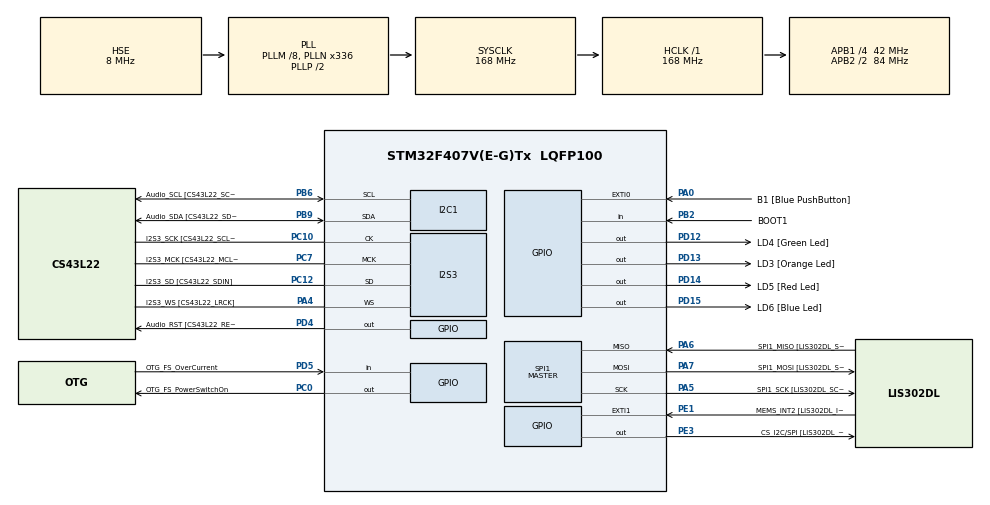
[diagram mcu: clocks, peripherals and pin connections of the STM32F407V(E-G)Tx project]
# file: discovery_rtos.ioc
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FREERTOS.INCLUDE_vTaskDelayUntil=1
FREERTOS.Tasks01=defaultTask,0,128,StartDefaultTask,Default,NULL
I2S3.AudioFreq-Half_Duplex_Master=I2S_AUDIOFREQ_96K
I2S3.ErrorAudioFreq=-2.34 %
I2S3.ErrorAudioFreq-Half_Duplex_Master=0.8 %
I2S3.FullDuplexMode=I2S_FULLDUPLEXMODE_DISABLE
I2S3.Instance=SPI$Index
I2S3.RealAudioFreq=93.75 KHz
I2S3.RealAudioFreq-Half_Duplex_Master=96.774 KHz
I2S3.VirtualMode=I2S_MODE_MASTER
Mcu.Family=STM32F4
Mcu.Name=STM32F407V(E-G)Tx
Mcu.Package=LQFP100
NVIC.PriorityGroup=NVIC_PRIORITYGROUP_4
NVIC.TIM6_DAC_IRQn=true\:0\:0\:false\:false\:true\:false\:false
NVIC.TimeBase=TIM6_DAC_IRQn
NVIC.TimeBaseIP=TIM6
PA0-WKUP.GPIO_Label=B1 [Blue PushButton]
PA0-WKUP.GPIO_ModeDefaultEXTI=GPIO_MODE_EVT_RISING
PA0-WKUP.GPIO_PuPd=GPIO_NOPULL
PA0-WKUP.Signal=GPXTI0
PA10.GPIO_Label=OTG_FS_ID
PA10.GPIO_Mode=GPIO_MODE_AF_PP
PA10.GPIO_PuPd=GPIO_NOPULL
PA10.GPIO_Speed=GPIO_SPEED_FREQ_LOW
PA10.Signal=USB_OTG_FS_ID
PA11.GPIO_Label=OTG_FS_DM
PA11.GPIO_Mode=GPIO_MODE_AF_PP
PA11.GPIO_PuPd=GPIO_NOPULL
PA11.GPIO_Speed=GPIO_SPEED_FREQ_LOW
PA11.Signal=USB_OTG_FS_DM
PA12.GPIO_Label=OTG_FS_DP
PA12.GPIO_Mode=GPIO_MODE_AF_PP
PA12.GPIO_PuPd=GPIO_NOPULL
PA12.GPIO_Speed=GPIO_SPEED_FREQ_LOW
PA12.Signal=USB_OTG_FS_DP
PA13.GPIO_Label=SWDIO
PA13.Mode=Serial_Wire
PA13.Signal=SYS_JTMS-SWDIO
PA14.GPIO_Label=SWCLK
PA14.Mode=Serial_Wire
PA14.Signal=SYS_JTCK-SWCLK
PA4.GPIO_Label=I2S3_WS [CS43L22_LRCK]
PA4.GPIO_Mode=GPIO_MODE_AF_PP
PA4.GPIO_PuPd=GPIO_NOPULL
PA4.GPIO_Speed=GPIO_SPEED_FREQ_LOW
PA4.Mode=Half_Duplex_Master
PA4.Signal=I2S3_WS
PA5.GPIO_Label=SPI1_SCK [LIS302DL_SCL/SPC]
PA5.GPIO_Mode=GPIO_MODE_AF_PP
PA5.GPIO_PuPd=GPIO_NOPULL
PA5.GPIO_Speed=GPIO_SPEED_FREQ_LOW
PA5.Mode=Full_Duplex_Master
PA5.Signal=SPI1_SCK
PA6.GPIO_Label=SPI1_MISO [LIS302DL_SDO]
PA6.GPIO_Mode=GPIO_MODE_AF_PP
PA6.GPIO_PuPd=GPIO_NOPULL
PA6.GPIO_Speed=GPIO_SPEED_FREQ_LOW
PA6.Mode=Full_Duplex_Master
PA6.Signal=SPI1_MISO
PA7.GPIO_Label=SPI1_MOSI [LIS302DL_SDA/SDI/SDO]
PA7.GPIO_Mode=GPIO_MODE_AF_PP
PA7.GPIO_PuPd=GPIO_NOPULL
PA7.GPIO_Speed=GPIO_SPEED_FREQ_LOW
PA7.Mode=Full_Duplex_Master
PA7.Signal=SPI1_MOSI
PA9.GPIO_Label=VBUS_FS
PA9.GPIO_Mode=GPIO_MODE_INPUT
PA9.GPIO_PuPd=GPIO_NOPULL
PA9.Signal=USB_OTG_FS_VBUS
PB10.GPIO_Label=CLK_IN [MP45DT02_CLK]
PB10.GPIO_Mode=GPIO_MODE_AF_PP
PB10.GPIO_PuPd=GPIO_NOPULL
PB10.GPIO_Speed=GPIO_SPEED_FREQ_LOW
PB10.Signal=I2S2_CK
PB2.GPIO_Label=BOOT1
PB2.GPIO_Mode=GPIO_MODE_INPUT
PB2.GPIO_PuPd=GPIO_NOPULL
PB2.Signal=GPIO_Input
PB3.GPIO_Label=SWO
PB3.Signal=SYS_JTDO-SWO
PB6.GPIO_Label=Audio_SCL [CS43L22_SCL]
PB6.GPIO_Mode=GPIO_MODE_AF_OD
PB6.GPIO_PuPd=GPIO_NOPULL
PB6.GPIO_Speed=GPIO_SPEED_FREQ_LOW
PB6.Mode=I2C
PB6.Signal=I2C1_SCL
PB9.GPIO_Label=Audio_SDA [CS43L22_SDA]
PB9.GPIO_Mode=GPIO_MODE_AF_OD
PB9.GPIO_PuPd=GPIO_NOPULL
PB9.GPIO_Speed=GPIO_SPEED_FREQ_LOW
PB9.Mode=I2C
PB9.Signal=I2C1_SDA
PC0.GPIO_Label=OTG_FS_PowerSwitchOn
PC0.GPIO_PuPd=GPIO_NOPULL
PC0.GPIO_Speed=GPIO_SPEED_FREQ_LOW
PC0.PinState=GPIO_PIN_SET
PC0.Signal=GPIO_Output
PC10.GPIO_Label=I2S3_SCK [CS43L22_SCLK]
PC10.GPIO_Mode=GPIO_MODE_AF_PP
PC10.GPIO_PuPd=GPIO_NOPULL
PC10.GPIO_Speed=GPIO_SPEED_FREQ_LOW
PC10.Mode=Half_Duplex_Master
PC10.Signal=I2S3_CK
PC12.GPIO_Label=I2S3_SD [CS43L22_SDIN]
PC12.GPIO_Mode=GPIO_MODE_AF_PP
PC12.GPIO_PuPd=GPIO_NOPULL
PC12.GPIO_Speed=GPIO_SPEED_FREQ_LOW
PC12.Mode=Half_Duplex_Master
PC12.Signal=I2S3_SD
PC14-OSC32_IN.GPIO_Label=PC14-OSC32_IN
PC14-OSC32_IN.Mode=LSE-External-Oscillator
PC14-OSC32_IN.Signal=RCC_OSC32_IN
PC15-OSC32_OUT.GPIO_Label=PC15-OSC32_OUT
PC15-OSC32_OUT.Mode=LSE-External-Oscillator
PC15-OSC32_OUT.Signal=RCC_OSC32_OUT
PC3.GPIO_Label=PDM_OUT [MP45DT02_DOUT]
PC3.GPIO_Mode=GPIO_MODE_AF_PP
PC3.GPIO_PuPd=GPIO_NOPULL
PC3.GPIO_Speed=GPIO_SPEED_FREQ_LOW
PC3.Signal=I2S2_SD
PC7.GPIO_Label=I2S3_MCK [CS43L22_MCLK]
PC7.GPIO_Mode=GPIO_MODE_AF_PP
PC7.GPIO_PuPd=GPIO_NOPULL
PC7.GPIO_Speed=GPIO_SPEED_FREQ_LOW
PC7.Mode=Master_Clock_Activated
PC7.Signal=I2S3_MCK
PD12.GPIO_Label=LD4 [Green Led]
PD12.GPIO_PuPd=GPIO_NOPULL
PD12.GPIO_Speed=GPIO_SPEED_FREQ_LOW
PD12.Signal=GPIO_Output
PD13.GPIO_Label=LD3 [Orange Led]
PD13.GPIO_PuPd=GPIO_NOPULL
PD13.GPIO_Speed=GPIO_SPEED_FREQ_LOW
PD13.Signal=GPIO_Output
PD14.GPIO_Label=LD5 [Red Led]
PD14.GPIO_PuPd=GPIO_NOPULL
PD14.GPIO_Speed=GPIO_SPEED_FREQ_LOW
PD14.Signal=GPIO_Output
PD15.GPIO_Label=LD6 [Blue Led]
PD15.GPIO_PuPd=GPIO_NOPULL
PD15.GPIO_Speed=GPIO_SPEED_FREQ_LOW
PD15.Signal=GPIO_Output
PD4.GPIO_Label=Audio_RST [CS43L22_RESET]
PD4.GPIO_PuPd=GPIO_NOPULL
PD4.GPIO_Speed=GPIO_SPEED_FREQ_LOW
PD4.Signal=GPIO_Output
PD5.GPIO_Label=OTG_FS_OverCurrent
PD5.GPIO_Mode=GPIO_MODE_INPUT
PD5.GPIO_PuPd=GPIO_NOPULL
PD5.Signal=GPIO_Input
PE1.GPIO_Label=MEMS_INT2 [LIS302DL_INT2]
PE1.GPIO_ModeDefaultEXTI=GPIO_MODE_EVT_RISING
PE1.GPIO_PuPd=GPIO_NOPULL
PE1.Signal=GPXTI1
PE3.GPIO_Label=CS_I2C/SPI [LIS302DL_CS_I2C/SPI]
PE3.GPIO_PuPd=GPIO_NOPULL
PE3.GPIO_Speed=GPIO_SPEED_FREQ_LOW
PE3.Signal=GPIO_Output
PH0-OSC_IN.GPIO_Label=PH0-OSC_IN
PH0-OSC_IN.Mode=HSE-External-Oscillator
PH0-OSC_IN.Signal=RCC_OSC_IN
PH1-OSC_OUT.GPIO_Label=PH1-OSC_OUT
PH1-OSC_OUT.Mode=HSE-External-Oscillator
PH1-OSC_OUT.Signal=RCC_OSC_OUT
ProjectManager.HeapSize=0x200
ProjectManager.StackSize=0x400
ProjectManager.TargetToolchain=TrueSTUDIO
RCC.48MHZClocksFreq_Value=48000000
RCC.AHBFreq_Value=168000000
RCC.APB1CLKDivider=RCC_HCLK_DIV4
RCC.APB1Freq_Value=42000000
RCC.APB1TimFreq_Value=84000000
RCC.APB2CLKDivider=RCC_HCLK_DIV2
RCC.APB2Freq_Value=84000000
RCC.APB2TimFreq_Value=168000000
RCC.CortexFreq_Value=168000000
RCC.HCLKFreq_Value=168000000
RCC.HSE_VALUE=8000000
RCC.HSI_VALUE=16000000
RCC.PLLM=8
RCC.PLLN=336
RCC.PLLQ=7
RCC.PLLSourceVirtual=RCC_PLLSOURCE_HSE
RCC.SYSCLKFreq_VALUE=168000000
RCC.SYSCLKSource=RCC_SYSCLKSOURCE_PLLCLK
RCC.VCOOutputFreq_Value=336000000
SPI1.BaudRatePrescaler-Full_Duplex_Master=SPI_BAUDRATEPRESCALER_2
SPI1.CalculateBaudRate-Full_Duplex_Master=42.0 MBits/s
SPI1.Direction=SPI_DIRECTION_2LINES
SPI1.Mode=SPI_MODE_MASTER
SPI1.Mode-Full_Duplex_Master=SPI_MODE_MASTER
SPI1.VirtualType=VM_MASTER
VP_FREERTOS_VS_ENABLE.Mode=Enabled
VP_SYS_VS_tim6.Mode=TIM6
board=STM32F4DISCOVERY

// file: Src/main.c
/**
  ******************************************************************************
  * @file           : main.c
  * @brief          : Main program body
  ******************************************************************************
  * This notice applies to any and all portions of this file
  * that are not between comment pairs USER CODE BEGIN and
  * USER CODE END. Other portions of this file, whether
  * inserted by the user or by software development tools
  * are owned by their respective copyright owners.
  *
  * Copyright (c) 2018 STMicroelectronics International N.V.
  * All rights reserved.
  *
  * Redistribution and use in source and binary forms, with or without
  * modification, are permitted, provided that the following conditions are met:
  *
  * 1. Redistribution of source code must retain the above copyright notice,
  *    this list of conditions and the following disclaimer.
  * 2. Redistributions in binary form must reproduce the above copyright notice,
  *    this list of conditions and the following disclaimer in the documentation
  *    and/or other materials provided with the distribution.
  * 3. Neither the name of STMicroelectronics nor the names of other
  *    contributors to this software may be used to endorse or promote products
  *    derived from this software without specific written permission.
  * 4. This software, including modifications and/or derivative works of this
  *    software, must execute solely and exclusively on microcontroller or
  *    microprocessor devices manufactured by or for STMicroelectronics.
  * 5. Redistribution and use of this software other than as permitted under
  *    this license is void and will automatically terminate your rights under
  *    this license.
  *
  * THIS SOFTWARE IS PROVIDED BY STMICROELECTRONICS AND CONTRIBUTORS "AS IS"
  * AND ANY EXPRESS, IMPLIED OR STATUTORY WARRANTIES, INCLUDING, BUT NOT
  * LIMITED TO, THE IMPLIED WARRANTIES OF MERCHANTABILITY, FITNESS FOR A
  * PARTICULAR PURPOSE AND NON-INFRINGEMENT OF THIRD PARTY INTELLECTUAL PROPERTY
  * RIGHTS ARE DISCLAIMED TO THE FULLEST EXTENT PERMITTED BY LAW. IN NO EVENT
  * SHALL STMICROELECTRONICS OR CONTRIBUTORS BE LIABLE FOR ANY DIRECT, INDIRECT,
  * INCIDENTAL, SPECIAL, EXEMPLARY, OR CONSEQUENTIAL DAMAGES (INCLUDING, BUT NOT
  * LIMITED TO, PROCUREMENT OF SUBSTITUTE GOODS OR SERVICES; LOSS OF USE, DATA,
  * OR PROFITS; OR BUSINESS INTERRUPTION) HOWEVER CAUSED AND ON ANY THEORY OF
  * LIABILITY, WHETHER IN CONTRACT, STRICT LIABILITY, OR TORT (INCLUDING
  * NEGLIGENCE OR OTHERWISE) ARISING IN ANY WAY OUT OF THE USE OF THIS SOFTWARE,
  * EVEN IF ADVISED OF THE POSSIBILITY OF SUCH DAMAGE.
  *
  ******************************************************************************
  */
#include "main.h"
#include "stm32f4xx_hal.h"
#include "cmsis_os.h"

I2C_HandleTypeDef hi2c1;

I2S_HandleTypeDef hi2s3;

SPI_HandleTypeDef hspi1;

osThreadId defaultTaskHandle;

/* USER CODE BEGIN PV */
/* Private variables ---------------------------------------------------------*/
/* USER CODE END PV */

void SystemClock_Config(void);
static void MX_GPIO_Init(void);
static void MX_I2C1_Init(void);
static void MX_I2S3_Init(void);
static void MX_SPI1_Init(void);
void StartDefaultTask(void const * argument);

/* USER CODE BEGIN PFP */
/* Private function prototypes -----------------------------------------------*/

//These two functions will be our two tasks.
void RedLedTask(void const * pvArgument);
void BlueLedTask(void const * pvArgument);
/* USER CODE END PFP */

int main(void)
{

  /* MCU Configuration----------------------------------------------------------*/

  /* Reset of all peripherals, Initializes the Flash interface and the Systick. */
  HAL_Init();

  /* Configure the system clock */
  SystemClock_Config();

  /* Initialize all configured peripherals */
  MX_GPIO_Init();
  MX_I2C1_Init();
  MX_I2S3_Init();
  MX_SPI1_Init();

  /* Create the thread(s) */
  /* definition and creation of defaultTask */
  osThreadDef(defaultTask, StartDefaultTask, osPriorityNormal, 0, 128);
  defaultTaskHandle = osThreadCreate(osThread(defaultTask), NULL);

  /* USER CODE BEGIN RTOS_THREADS */

  /*
    osThreadDef() is a STM CMSIS abstraction function for declaring FreeRTOS tasks.
    We choose not to use it as FreeRTOS ports are already quite universal
  */

  xTaskCreate((TaskFunction_t)RedLedTask,         //Task function pointer
    (const char*) "redLedTask",                   //task name
    configMINIMAL_STACK_SIZE,                     //stack size
    NULL,                                         //parameters to pass to the task
    1,                                            //task priority.  Lower number, lower priority
    NULL);                                        //pass handle to the created task

  /*
    These two tasks are the same priority, so FreeRTOS will try to schedule them at the same time.  This is called Time Slicing
    do be aware that these tasks are low priority on purpose.
    Higher priority tasks will always pre-empt these two during context switches
  */

  xTaskCreate((TaskFunction_t)BlueLedTask,        //Task function pointer
    (const char*) "blueLedTask",                  //task name
    configMINIMAL_STACK_SIZE,                     //stack size
    NULL,                                         //parameters to pass to the task
    1,                                            //task priority
    NULL);                                        //pass handle to the created task

  /*
    One of the things we can do here is create two tasks that use the SAME task function,
    but pass the LED we want to use as the parameter to that task!
  */

  /* USER CODE END RTOS_THREADS */

  /* Start scheduler */
  osKernelStart();

  /* We should never get here as control is now taken by the scheduler */

  /* Infinite loop */
  while (1)
  {

  }

}

void SystemClock_Config(void)
{

  RCC_OscInitTypeDef RCC_OscInitStruct;
  RCC_ClkInitTypeDef RCC_ClkInitStruct;
  RCC_PeriphCLKInitTypeDef PeriphClkInitStruct;

    /**Configure the main internal regulator output voltage
    */
  __HAL_RCC_PWR_CLK_ENABLE();

  __HAL_PWR_VOLTAGESCALING_CONFIG(PWR_REGULATOR_VOLTAGE_SCALE1);

    /**Initializes the CPU, AHB and APB busses clocks
    */
  RCC_OscInitStruct.OscillatorType = RCC_OSCILLATORTYPE_HSE;
  RCC_OscInitStruct.HSEState = RCC_HSE_ON;
  RCC_OscInitStruct.PLL.PLLState = RCC_PLL_ON;
  RCC_OscInitStruct.PLL.PLLSource = RCC_PLLSOURCE_HSE;
  RCC_OscInitStruct.PLL.PLLM = 8;
  RCC_OscInitStruct.PLL.PLLN = 336;
  RCC_OscInitStruct.PLL.PLLP = RCC_PLLP_DIV2;
  RCC_OscInitStruct.PLL.PLLQ = 7;
  if (HAL_RCC_OscConfig(&RCC_OscInitStruct) != HAL_OK)
  {
    _Error_Handler(__FILE__, __LINE__);
  }

    /**Initializes the CPU, AHB and APB busses clocks
    */
  RCC_ClkInitStruct.ClockType = RCC_CLOCKTYPE_HCLK|RCC_CLOCKTYPE_SYSCLK
                              |RCC_CLOCKTYPE_PCLK1|RCC_CLOCKTYPE_PCLK2;
  RCC_ClkInitStruct.SYSCLKSource = RCC_SYSCLKSOURCE_PLLCLK;
  RCC_ClkInitStruct.AHBCLKDivider = RCC_SYSCLK_DIV1;
  RCC_ClkInitStruct.APB1CLKDivider = RCC_HCLK_DIV4;
  RCC_ClkInitStruct.APB2CLKDivider = RCC_HCLK_DIV2;

  if (HAL_RCC_ClockConfig(&RCC_ClkInitStruct, FLASH_LATENCY_5) != HAL_OK)
  {
    _Error_Handler(__FILE__, __LINE__);
  }

  PeriphClkInitStruct.PeriphClockSelection = RCC_PERIPHCLK_I2S;
  PeriphClkInitStruct.PLLI2S.PLLI2SN = 192;
  PeriphClkInitStruct.PLLI2S.PLLI2SR = 2;
  if (HAL_RCCEx_PeriphCLKConfig(&PeriphClkInitStruct) != HAL_OK)
  {
    _Error_Handler(__FILE__, __LINE__);
  }

    /**Configure the Systick interrupt time
    */
  HAL_SYSTICK_Config(HAL_RCC_GetHCLKFreq()/1000);

    /**Configure the Systick
    */
  HAL_SYSTICK_CLKSourceConfig(SYSTICK_CLKSOURCE_HCLK);

  /* SysTick_IRQn interrupt configuration */
  HAL_NVIC_SetPriority(SysTick_IRQn, 15, 0);
}

/* I2C1 init function */
static void MX_I2C1_Init(void)
{

  hi2c1.Instance = I2C1;
  hi2c1.Init.ClockSpeed = 100000;
  hi2c1.Init.DutyCycle = I2C_DUTYCYCLE_2;
  hi2c1.Init.OwnAddress1 = 0;
  hi2c1.Init.AddressingMode = I2C_ADDRESSINGMODE_7BIT;
  hi2c1.Init.DualAddressMode = I2C_DUALADDRESS_DISABLE;
  hi2c1.Init.OwnAddress2 = 0;
  hi2c1.Init.GeneralCallMode = I2C_GENERALCALL_DISABLE;
  hi2c1.Init.NoStretchMode = I2C_NOSTRETCH_DISABLE;
  if (HAL_I2C_Init(&hi2c1) != HAL_OK)
  {
    _Error_Handler(__FILE__, __LINE__);
  }

}

/* I2S3 init function */
static void MX_I2S3_Init(void)
{

  hi2s3.Instance = SPI3;
  hi2s3.Init.Mode = I2S_MODE_MASTER_TX;
  hi2s3.Init.Standard = I2S_STANDARD_PHILIPS;
  hi2s3.Init.DataFormat = I2S_DATAFORMAT_16B;
  hi2s3.Init.MCLKOutput = I2S_MCLKOUTPUT_ENABLE;
  hi2s3.Init.AudioFreq = I2S_AUDIOFREQ_96K;
  hi2s3.Init.CPOL = I2S_CPOL_LOW;
  hi2s3.Init.ClockSource = I2S_CLOCK_PLL;
  hi2s3.Init.FullDuplexMode = I2S_FULLDUPLEXMODE_DISABLE;
  if (HAL_I2S_Init(&hi2s3) != HAL_OK)
  {
    _Error_Handler(__FILE__, __LINE__);
  }

}

/* SPI1 init function */
static void MX_SPI1_Init(void)
{

  /* SPI1 parameter configuration*/
  hspi1.Instance = SPI1;
  hspi1.Init.Mode = SPI_MODE_MASTER;
  hspi1.Init.Direction = SPI_DIRECTION_2LINES;
  hspi1.Init.DataSize = SPI_DATASIZE_8BIT;
  hspi1.Init.CLKPolarity = SPI_POLARITY_LOW;
  hspi1.Init.CLKPhase = SPI_PHASE_1EDGE;
  hspi1.Init.NSS = SPI_NSS_SOFT;
  hspi1.Init.BaudRatePrescaler = SPI_BAUDRATEPRESCALER_2;
  hspi1.Init.FirstBit = SPI_FIRSTBIT_MSB;
  hspi1.Init.TIMode = SPI_TIMODE_DISABLE;
  hspi1.Init.CRCCalculation = SPI_CRCCALCULATION_DISABLE;
  hspi1.Init.CRCPolynomial = 10;
  if (HAL_SPI_Init(&hspi1) != HAL_OK)
  {
    _Error_Handler(__FILE__, __LINE__);
  }

}

/** Configure pins as
        * Analog
        * Input
        * Output
        * EVENT_OUT
        * EXTI
     PC3   ------> I2S2_SD
     PB10   ------> I2S2_CK
     PA9   ------> USB_OTG_FS_VBUS
     PA10   ------> USB_OTG_FS_ID
     PA11   ------> USB_OTG_FS_DM
     PA12   ------> USB_OTG_FS_DP
*/
static void MX_GPIO_Init(void)
{

  GPIO_InitTypeDef GPIO_InitStruct;

  /* GPIO Ports Clock Enable */
  __HAL_RCC_GPIOE_CLK_ENABLE();
  __HAL_RCC_GPIOC_CLK_ENABLE();
  __HAL_RCC_GPIOH_CLK_ENABLE();
  __HAL_RCC_GPIOA_CLK_ENABLE();
  __HAL_RCC_GPIOB_CLK_ENABLE();
  __HAL_RCC_GPIOD_CLK_ENABLE();

  /*Configure GPIO pin Output Level */
  HAL_GPIO_WritePin(CS_I2C_SPI_GPIO_Port, CS_I2C_SPI_Pin, GPIO_PIN_RESET);

  /*Configure GPIO pin Output Level */
  HAL_GPIO_WritePin(OTG_FS_PowerSwitchOn_GPIO_Port, OTG_FS_PowerSwitchOn_Pin, GPIO_PIN_SET);

  /*Configure GPIO pin Output Level */
  HAL_GPIO_WritePin(GPIOD, LD4_Pin|LD3_Pin|LD5_Pin|LD6_Pin
                          |Audio_RST_Pin, GPIO_PIN_RESET);

  /*Configure GPIO pin : CS_I2C_SPI_Pin */
  GPIO_InitStruct.Pin = CS_I2C_SPI_Pin;
  GPIO_InitStruct.Mode = GPIO_MODE_OUTPUT_PP;
  GPIO_InitStruct.Pull = GPIO_NOPULL;
  GPIO_InitStruct.Speed = GPIO_SPEED_FREQ_LOW;
  HAL_GPIO_Init(CS_I2C_SPI_GPIO_Port, &GPIO_InitStruct);

  /*Configure GPIO pin : OTG_FS_PowerSwitchOn_Pin */
  GPIO_InitStruct.Pin = OTG_FS_PowerSwitchOn_Pin;
  GPIO_InitStruct.Mode = GPIO_MODE_OUTPUT_PP;
  GPIO_InitStruct.Pull = GPIO_NOPULL;
  GPIO_InitStruct.Speed = GPIO_SPEED_FREQ_LOW;
  HAL_GPIO_Init(OTG_FS_PowerSwitchOn_GPIO_Port, &GPIO_InitStruct);

  /*Configure GPIO pin : PDM_OUT_Pin */
  GPIO_InitStruct.Pin = PDM_OUT_Pin;
  GPIO_InitStruct.Mode = GPIO_MODE_AF_PP;
  GPIO_InitStruct.Pull = GPIO_NOPULL;
  GPIO_InitStruct.Speed = GPIO_SPEED_FREQ_LOW;
  GPIO_InitStruct.Alternate = GPIO_AF5_SPI2;
  HAL_GPIO_Init(PDM_OUT_GPIO_Port, &GPIO_InitStruct);

  /*Configure GPIO pin : B1_Pin */
  GPIO_InitStruct.Pin = B1_Pin;
  GPIO_InitStruct.Mode = GPIO_MODE_EVT_RISING;
  GPIO_InitStruct.Pull = GPIO_NOPULL;
  HAL_GPIO_Init(B1_GPIO_Port, &GPIO_InitStruct);

  /*Configure GPIO pin : BOOT1_Pin */
  GPIO_InitStruct.Pin = BOOT1_Pin;
  GPIO_InitStruct.Mode = GPIO_MODE_INPUT;
  GPIO_InitStruct.Pull = GPIO_NOPULL;
  HAL_GPIO_Init(BOOT1_GPIO_Port, &GPIO_InitStruct);

  /*Configure GPIO pin : CLK_IN_Pin */
  GPIO_InitStruct.Pin = CLK_IN_Pin;
  GPIO_InitStruct.Mode = GPIO_MODE_AF_PP;
  GPIO_InitStruct.Pull = GPIO_NOPULL;
  GPIO_InitStruct.Speed = GPIO_SPEED_FREQ_LOW;
  GPIO_InitStruct.Alternate = GPIO_AF5_SPI2;
  HAL_GPIO_Init(CLK_IN_GPIO_Port, &GPIO_InitStruct);

  /*Configure GPIO pins : LD4_Pin LD3_Pin LD5_Pin LD6_Pin
                           Audio_RST_Pin */
  GPIO_InitStruct.Pin = LD4_Pin|LD3_Pin|LD5_Pin|LD6_Pin
                          |Audio_RST_Pin;
  GPIO_InitStruct.Mode = GPIO_MODE_OUTPUT_PP;
  GPIO_InitStruct.Pull = GPIO_NOPULL;
  GPIO_InitStruct.Speed = GPIO_SPEED_FREQ_LOW;
  HAL_GPIO_Init(GPIOD, &GPIO_InitStruct);

  /*Configure GPIO pin : VBUS_FS_Pin */
  GPIO_InitStruct.Pin = VBUS_FS_Pin;
  GPIO_InitStruct.Mode = GPIO_MODE_INPUT;
  GPIO_InitStruct.Pull = GPIO_NOPULL;
  HAL_GPIO_Init(VBUS_FS_GPIO_Port, &GPIO_InitStruct);

  /*Configure GPIO pins : OTG_FS_ID_Pin OTG_FS_DM_Pin OTG_FS_DP_Pin */
  GPIO_InitStruct.Pin = OTG_FS_ID_Pin|OTG_FS_DM_Pin|OTG_FS_DP_Pin;
  GPIO_InitStruct.Mode = GPIO_MODE_AF_PP;
  GPIO_InitStruct.Pull = GPIO_NOPULL;
  GPIO_InitStruct.Speed = GPIO_SPEED_FREQ_LOW;
  GPIO_InitStruct.Alternate = GPIO_AF10_OTG_FS;
  HAL_GPIO_Init(GPIOA, &GPIO_InitStruct);

  /*Configure GPIO pin : OTG_FS_OverCurrent_Pin */
  GPIO_InitStruct.Pin = OTG_FS_OverCurrent_Pin;
  GPIO_InitStruct.Mode = GPIO_MODE_INPUT;
  GPIO_InitStruct.Pull = GPIO_NOPULL;
  HAL_GPIO_Init(OTG_FS_OverCurrent_GPIO_Port, &GPIO_InitStruct);

  /*Configure GPIO pin : MEMS_INT2_Pin */
  GPIO_InitStruct.Pin = MEMS_INT2_Pin;
  GPIO_InitStruct.Mode = GPIO_MODE_EVT_RISING;
  GPIO_InitStruct.Pull = GPIO_NOPULL;
  HAL_GPIO_Init(MEMS_INT2_GPIO_Port, &GPIO_InitStruct);

}

/* USER CODE BEGIN 4 */

/*
  RedLedTask
  A simple 1/2 Hz blinenlight for the red LED (pin D14)
  turns on the light, then places itself in the Blocked state to let other tasks run
  when the 1000ms are over, turn off the light, and do another 1000ms wait
*/

void RedLedTask(void const * pvArgument){
  TickType_t xLastWakeTime;
  xLastWakeTime = xTaskGetTickCount();

  for(;;){
    HAL_GPIO_WritePin(GPIOD, LD5_Pin, GPIO_PIN_SET); //LD5 = red
    vTaskDelayUntil(&xLastWakeTime, pdMS_TO_TICKS(1000));
    HAL_GPIO_WritePin(GPIOD, LD5_Pin, GPIO_PIN_RESET);
    vTaskDelayUntil(&xLastWakeTime, pdMS_TO_TICKS(1000));
  }
}

//this task executes first for whatever reason
//probably because it was the most recently created task
void BlueLedTask(void const * pvArgument){
  TickType_t xLastWakeTime;
  xLastWakeTime = xTaskGetTickCount();

  for(;;){
    HAL_GPIO_WritePin(GPIOD, LD6_Pin, GPIO_PIN_SET); //LD6 = blue
    vTaskDelayUntil(&xLastWakeTime, pdMS_TO_TICKS(1000));
    HAL_GPIO_WritePin(GPIOD, LD6_Pin, GPIO_PIN_RESET);
    vTaskDelayUntil(&xLastWakeTime, pdMS_TO_TICKS(1000));
  }
}

/* USER CODE END 4 */

/* StartDefaultTask function */
void StartDefaultTask(void const * argument)
{

  for(;;)
  {
    osDelay(1);
  }
}

void HAL_TIM_PeriodElapsedCallback(TIM_HandleTypeDef *htim)
{
  if (htim->Instance == TIM6) {
    HAL_IncTick();
  }
}

void _Error_Handler(char *file, int line)
{
  while(1)
  {
  }
}

/************************ (C) COPYRIGHT STMicroelectronics *****END OF FILE****/
